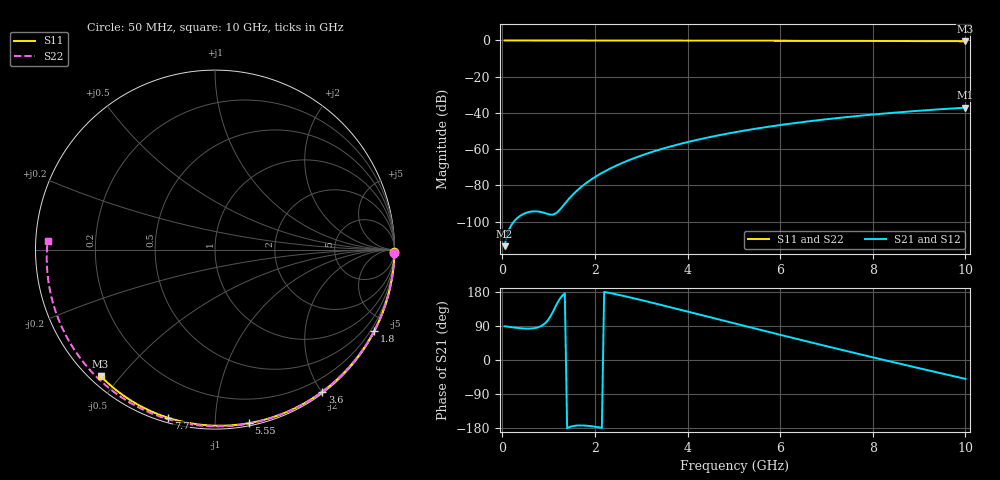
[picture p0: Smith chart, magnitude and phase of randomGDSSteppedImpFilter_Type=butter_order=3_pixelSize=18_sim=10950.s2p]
! freq	dB(S11)	phase(S11)	dB(S12)	phase(S12)
!  dB(S21)	phase(S21)	dB(S22)	phase(S22)
!S-par simulation data
#  GHz  S  DB  R 50
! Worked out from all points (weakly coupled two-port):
!   200 points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, 50 MHz to 10 GHz, reference 50 ohm
!   highest |S21| = -37.08 dB at 10 GHz (marker M1); lowest = -113.5 dB at 50 MHz (marker M2)
!   lowest |S11| = -0.4 dB at 10 GHz (marker M3), VSWR 38.93, Z = 1.54 - j22.2 ohm
!   |S11| at or under -10 dB: nowhere
!   |S22| runs from -0.6 to 0.0 dB; largest |S21 - S12| = 0
!   S11 on the Smith chart (normalised r, x): 50 MHz: open; 1.8 GHz: 0.04, -4.16; 3.6 GHz: 0.02, -2.01; 5.55 GHz: 0.02, -1.21; 7.7 GHz: 0.02, -0.76; 10 GHz: 0.03, -0.44
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0.05  -0.00 -0.8  -113.51 89.1  -113.51 89.1  -0.00 -1.1
0.45  -0.01 -6.9  -95.82 83.3  -95.82 83.3  -0.01 -9.5
0.85  -0.02 -12.9  -94.74 90.4  -94.74 90.4  -0.02 -17.8
1.3  -0.02 -19.6  -91.59 170.4  -91.59 170.4  -0.03 -27.1
1.75  -0.03 -26.3  -79.88 -172.8  -79.88 -172.8  -0.05 -36.2
1.8  -0.03 -27.1  -78.89 -173.2  -78.89 -173.2  -0.05 -37.2
1.95  -0.04 -29.3  -76.20 -175.2  -76.20 -175.2  -0.05 -40.2
2.1  -0.04 -31.5  -73.83 -178.0  -73.83 -178.0  -0.06 -43.2
2.3  -0.04 -34.4  -71.05 177.4  -71.05 177.4  -0.06 -47.2
2.5  -0.05 -37.3  -68.60 172.3  -68.60 172.3  -0.07 -51.1
2.9  -0.06 -43.0  -64.43 161.1  -64.43 161.1  -0.08 -58.9
3.4  -0.07 -50.1  -60.19 146.2  -60.19 146.2  -0.09 -68.4
3.6  -0.07 -52.9  -58.72 140.1  -58.72 140.1  -0.10 -72.2
4.3  -0.09 -62.5  -54.30 118.6  -54.30 118.6  -0.12 -85.0
5.05  -0.11 -72.5  -50.51 95.5  -50.51 95.5  -0.15 -98.3
5.55  -0.13 -79.0  -48.38 80.2  -48.38 80.2  -0.18 -107.0
6.1  -0.15 -86.0  -46.32 63.4  -46.32 63.4  -0.21 -116.3
6.7  -0.18 -93.5  -44.35 45.4  -44.35 45.4  -0.25 -126.4
7.7  -0.24 -105.6  -41.60 15.8  -41.60 15.8  -0.33 -143.1
8.35  -0.29 -113.2  -40.09 -3.1  -40.09 -3.1  -0.39 -154.0
9.2  -0.36 -123.0  -38.41 -27.4  -38.41 -27.4  -0.49 -168.6
10  -0.45 -132.2  -37.08 -49.8  -37.08 -49.8  -0.59 177.1
